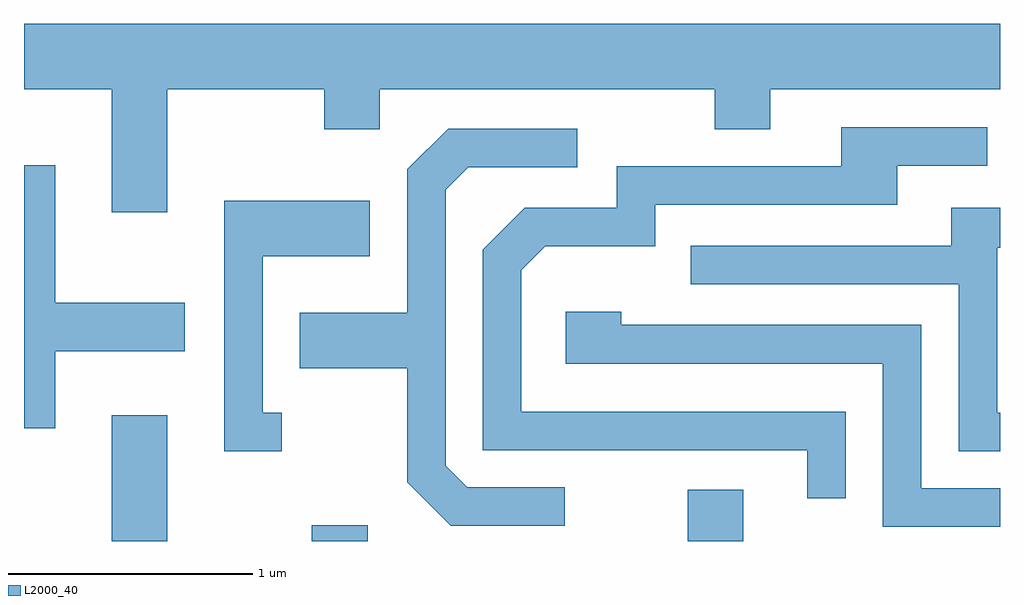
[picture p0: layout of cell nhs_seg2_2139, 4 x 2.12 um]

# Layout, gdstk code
import gdstk
lib = gdstk.Library(unit=1e-6, precision=1e-09)
def R(c, l, rs):  # rectangles x0, y0, x1, y1
    for r in rs: c.add(gdstk.rectangle(r[:2], r[2:], *l))
def P(c, l, *ps):  # polygons
    for p in ps: c.add(gdstk.Polygon(p, *l))
L2000_40 = (2000, 40)

nhs_seg2_2139 = lib.new_cell('nhs_seg2_2139')
R(nhs_seg2_2139, L2000_40, [(247.971,1039.802,248.199,1040.319), (248.791,1039.802,249.019,1039.869), (250.331,1039.802,250.559,1040.014)])
P(nhs_seg2_2139, L2000_40, [(248.199,1041.656),(248.841,1041.656),(248.841,1041.491),(249.069,1041.491),(249.069,1041.656),(250.441,1041.656),(250.441,1041.491),(250.669,1041.491),(250.669,1041.656),(251.611,1041.656),(251.611,1041.924),(247.611,1041.924),(247.611,1041.656),(247.971,1041.656),(247.971,1041.151),(248.199,1041.151)],
  [(250.979,1040.334),(249.649,1040.334),(249.649,1040.914),(249.747,1041.011),(250.199,1041.011),(250.199,1041.181),(251.189,1041.181),(251.189,1041.341),(251.558,1041.341),(251.558,1041.499),(250.961,1041.499),(250.961,1041.339),(250.041,1041.339),(250.041,1041.169),(249.664,1041.169),(249.491,1040.997),(249.491,1040.176),(250.821,1040.176),(250.821,1039.978),(250.979,1039.978)],
  [(249.828,1040.024),(249.427,1040.024),(249.339,1040.112),(249.339,1041.244),(249.432,1041.336),(249.878,1041.336),(249.878,1041.494),(249.349,1041.494),(249.181,1041.327),(249.181,1040.739),(248.741,1040.739),(248.741,1040.511),(249.181,1040.511),(249.181,1040.044),(249.359,1039.866),(249.828,1039.866)],
  [(247.739,1040.581),(248.269,1040.581),(248.269,1040.779),(247.739,1040.779),(247.739,1041.344),(247.611,1041.344),(247.611,1040.266),(247.739,1040.266)],
  [(248.668,1040.329),(248.589,1040.329),(248.589,1040.971),(249.029,1040.971),(249.029,1041.199),(248.431,1041.199),(248.431,1040.171),(248.668,1040.171)],
  [(251.611,1040.329),(251.599,1040.329),(251.599,1041.006),(251.611,1041.006),(251.611,1041.169),(251.411,1041.169),(251.411,1041.014),(250.343,1041.014),(250.343,1040.856),(251.441,1040.856),(251.441,1040.171),(251.611,1040.171)],
  [(251.611,1040.019),(251.289,1040.019),(251.289,1040.689),(250.059,1040.689),(250.059,1040.744),(249.831,1040.744),(249.831,1040.531),(251.131,1040.531),(251.131,1039.861),(251.611,1039.861)])

lib.write_gds('nhs_seg2_2139.gds')
